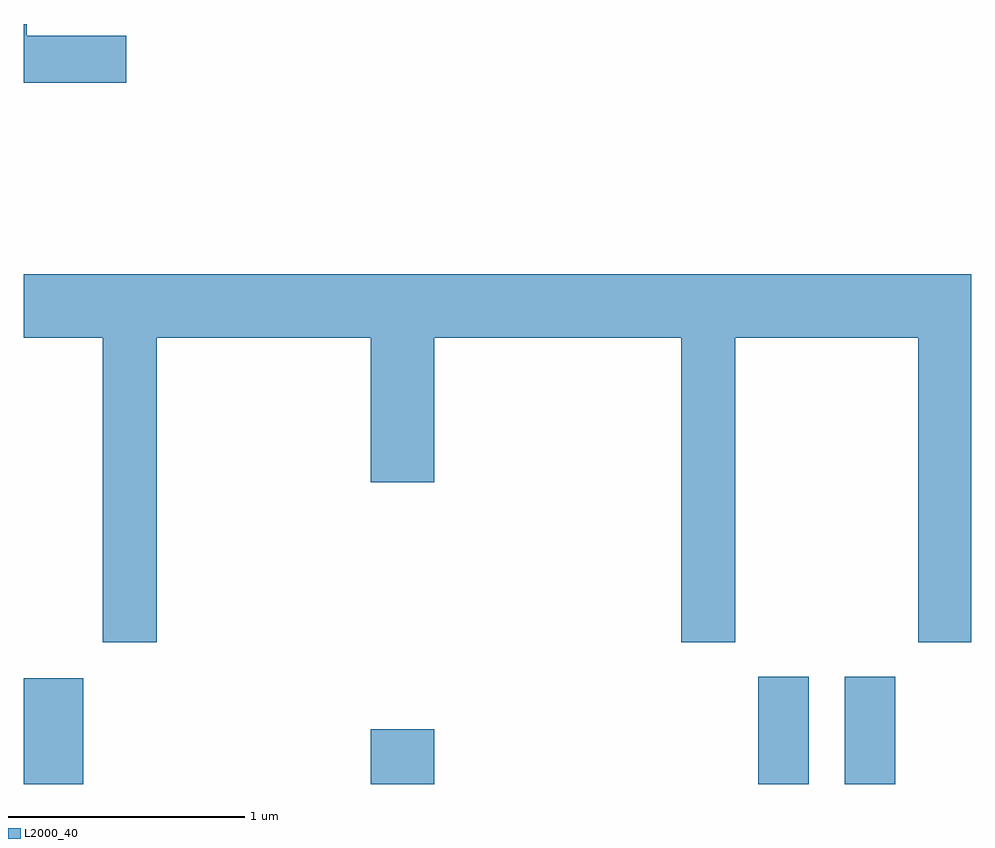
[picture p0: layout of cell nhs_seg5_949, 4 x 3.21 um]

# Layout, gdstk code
import gdstk
lib = gdstk.Library(unit=1e-6, precision=1e-09)
def R(c, l, rs):  # rectangles x0, y0, x1, y1
    for r in rs: c.add(gdstk.rectangle(r[:2], r[2:], *l))
def P(c, l, *ps):  # polygons
    for p in ps: c.add(gdstk.Polygon(p, *l))
L2000_40 = (2000, 40)

nhs_seg5_949 = lib.new_cell('nhs_seg5_949')
R(nhs_seg5_949, L2000_40, [(213.611,1406.072,213.864,1406.519), (215.076,1406.072,215.344,1406.304), (216.711,1406.072,216.924,1406.524), (217.076,1406.072,217.289,1406.524)])
P(nhs_seg5_949, L2000_40, [(214.044,1409.229),(213.624,1409.229),(213.624,1409.279),(213.611,1409.279),(213.611,1409.031),(214.044,1409.031)],
  [(214.174,1407.956),(215.076,1407.956),(215.076,1407.346),(215.344,1407.346),(215.344,1407.956),(216.386,1407.956),(216.386,1406.671),(216.614,1406.671),(216.614,1407.956),(217.386,1407.956),(217.386,1406.671),(217.611,1406.671),(217.611,1408.224),(213.611,1408.224),(213.611,1407.956),(213.946,1407.956),(213.946,1406.671),(214.174,1406.671)])

lib.write_gds('nhs_seg5_949.gds')
